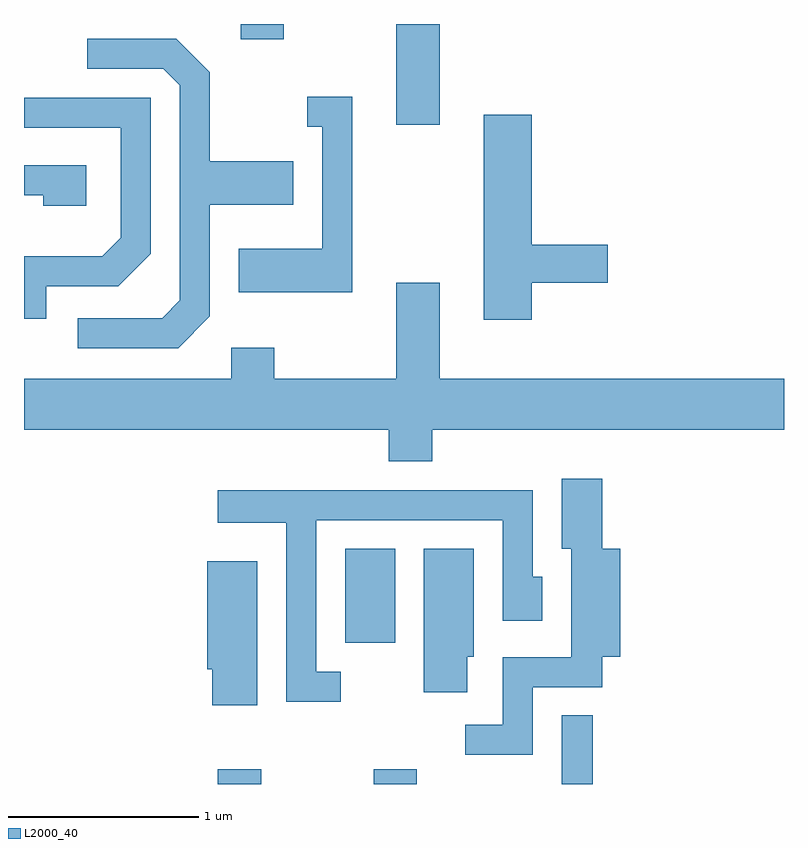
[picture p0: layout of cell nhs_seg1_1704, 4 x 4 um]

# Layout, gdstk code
import gdstk
lib = gdstk.Library(unit=1e-6, precision=1e-09)
def R(c, l, rs):  # rectangles x0, y0, x1, y1
    for r in rs: c.add(gdstk.rectangle(r[:2], r[2:], *l))
def P(c, l, *ps):  # polygons
    for p in ps: c.add(gdstk.Polygon(p, *l))
L2000_40 = (2000, 40)

nhs_seg1_1704 = lib.new_cell('nhs_seg1_1704')
R(nhs_seg1_1704, L2000_40, [(238.631,897.712,238.859,897.789), (239.451,897.712,239.679,897.789), (240.441,897.712,240.604,898.073), (239.301,898.456,239.564,898.949), (239.571,901.181,239.799,901.712), (238.751,901.631,238.979,901.712)])
P(nhs_seg1_1704, L2000_40, [(238.589,900.174),(238.589,900.761),(239.029,900.761),(239.029,900.989),(238.589,900.989),(238.589,901.457),(238.412,901.634),(237.943,901.634),(237.943,901.476),(238.344,901.476),(238.431,901.389),(238.431,900.257),(238.339,900.164),(237.893,900.164),(237.893,900.006),(238.422,900.006)],
  [(239.339,901.329),(239.103,901.329),(239.103,901.171),(239.181,901.171),(239.181,900.529),(238.741,900.529),(238.741,900.301),(239.339,900.301)],
  [(237.729,900.331),(238.107,900.331),(238.279,900.504),(238.279,901.324),(237.611,901.324),(237.611,901.166),(238.121,901.166),(238.121,900.587),(238.024,900.489),(237.611,900.489),(237.611,900.161),(237.729,900.161)],
  [(240.284,900.351),(240.684,900.351),(240.684,900.549),(240.284,900.549),(240.284,901.234),(240.031,901.234),(240.031,900.156),(240.284,900.156)],
  [(237.939,900.969),(237.611,900.969),(237.611,900.811),(237.711,900.811),(237.711,900.756),(237.939,900.756)],
  [(239.759,899.576),(241.611,899.576),(241.611,899.844),(239.799,899.844),(239.799,900.349),(239.571,900.349),(239.571,899.844),(238.929,899.844),(238.929,900.009),(238.701,900.009),(238.701,899.844),(237.611,899.844),(237.611,899.576),(239.531,899.576),(239.531,899.411),(239.759,899.411)],
  [(240.289,898.221),(240.654,898.221),(240.654,898.381),(240.749,898.381),(240.749,898.949),(240.654,898.949),(240.654,899.319),(240.441,899.319),(240.441,898.951),(240.491,898.951),(240.491,898.379),(240.131,898.379),(240.131,898.024),(239.933,898.024),(239.933,897.866),(240.289,897.866)],
  [(239.278,898.304),(239.149,898.304),(239.149,899.101),(240.131,899.101),(240.131,898.571),(240.339,898.571),(240.339,898.804),(240.289,898.804),(240.289,899.259),(238.631,899.259),(238.631,899.086),(238.991,899.086),(238.991,898.146),(239.278,898.146)],
  [(239.944,898.381),(239.979,898.381),(239.979,898.949),(239.716,898.949),(239.716,898.196),(239.944,898.196)],
  [(238.839,898.884),(238.576,898.884),(238.576,898.316),(238.601,898.316),(238.601,898.126),(238.839,898.126)])

lib.write_gds('nhs_seg1_1704.gds')
